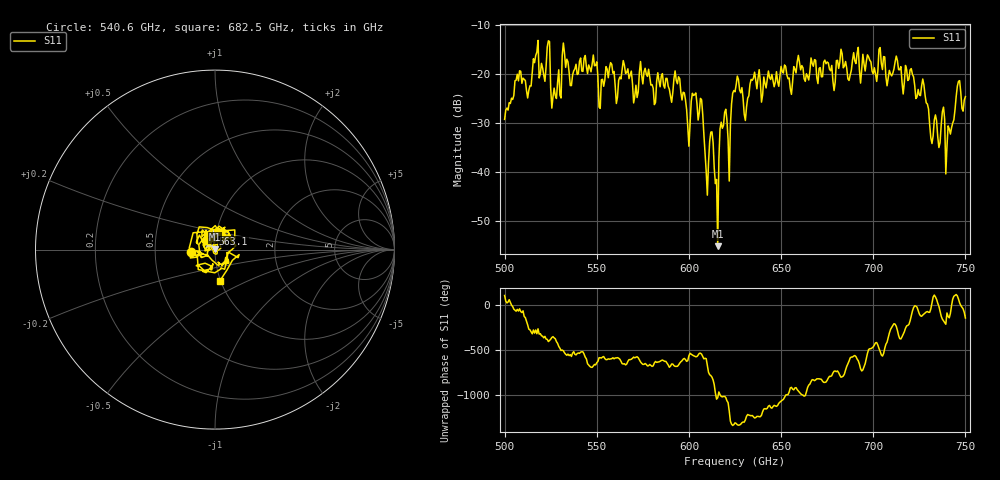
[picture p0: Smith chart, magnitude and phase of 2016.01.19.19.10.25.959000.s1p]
!Created with skrf (http://scikit-rf.org).
# GHz S RI R 50.0
!freq ReS11 ImS11
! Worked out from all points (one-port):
!   401 points, 500 GHz to 750 GHz, reference 50 ohm
!   lowest |S11| = -55.1 dB at 615.6 GHz (marker M1), VSWR 1.00, Z = 50.1 + j0.133 ohm
!   |S11| at or under -10 dB: start of sweep to end of sweep
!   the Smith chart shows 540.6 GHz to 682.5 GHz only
!   S11 on the Smith chart (normalised r, x): 540.6 GHz: 0.76, -0.02; 563.1 GHz: 0.96, +0.17; 682.5 GHz: 0.99, -0.36
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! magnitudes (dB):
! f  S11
! 500 GHz  -29.3
! 507.5 GHz  -21.4
! 513.1 GHz  -23.4
! 516.9 GHz  -16.3
! 523.8 GHz  -13.3
! 526.9 GHz  -22.9
! 531.2 GHz  -16.3
! 540.6 GHz  -17.5
! 562.5 GHz  -20.7
! 563.1 GHz  -21.0
! 593.8 GHz  -22.0
! 599.4 GHz  -30.8
! 606.2 GHz  -25.0
! 609.4 GHz  -39.9
! 612.5 GHz  -31.8
! 615.6 GHz  -55.1
! 618.1 GHz  -31.1
! 621.9 GHz  -41.8
! 625 GHz  -23.6
! 630.6 GHz  -29.5
! 635 GHz  -20.9
! 656.2 GHz  -21.6
! 682.5 GHz  -15.0
! 687.5 GHz  -20.2
! 718.8 GHz  -21.3
! 740.6 GHz  -30.6
! 746.2 GHz  -21.5
! 750 GHz  -24.6
